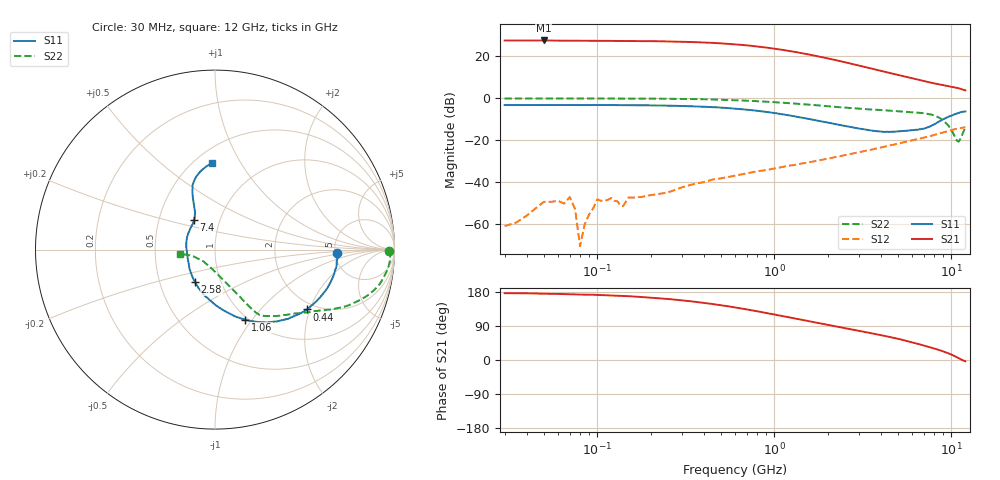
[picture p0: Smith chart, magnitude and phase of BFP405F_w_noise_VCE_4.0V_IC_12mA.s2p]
! Infineon Technologies  Discrete & RF Semiconductors
! BFP405F
! VCE =  4.0 V,  IC =  12 mA
! Common Emitter S-Parameters:  Nov 2015
# GHz  S  MA  R  50
!  f  S11  S21  S12  S22
! GHz  MAG  ANG  MAG  ANG  MAG  ANG  MAG  ANG
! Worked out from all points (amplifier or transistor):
!   239 points, 30 MHz to 12 GHz, reference 50 ohm
!   highest |S21| = 27.4 dB at 50 MHz (marker M1)
!   |S21| within 3 dB of that: start of sweep to 827 MHz
!   unconditionally stable (mu >= 1): 78.19 MHz to 86.79 MHz; 2.222 GHz to end of sweep
!   at 300 MHz: K = 0.22, MSG = 34.7 dB, |S12| = -42.5 dB
!   at 1.88 GHz: K = 0.92, MSG = 24.3 dB, |S12| = -29.3 dB
!   at 12 GHz: K = 1.38, MAG = 5.1 dB, |S12| = -13.9 dB
!   lowest NFmin = 1.80 dB at 450 MHz
!   S11 on the Smith chart (normalised r, x): 30 MHz: 5.23, -0.42; 440 MHz: 1.79, -1.91; 1.06 GHz: 0.97, -0.92; 2.58 GHz: 0.75, -0.28; 7.4 GHz: 0.75, +0.26; 12 GHz: 0.61, +0.76
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0.03  0.6809 -1.8  23.33 176.3  0.0009 123.5  0.9721 -0.5
0.05  0.6808 -3.7  23.43 174.9  0.0034 103.4  0.9817 -1.1
0.07  0.6807 -5.5  23.16 173.3  0.0044 43.8  0.9773 -1.8
0.075  0.681 -5.8  23.09 173.0  0.0023 43.9  0.9773 -1.8
0.08  0.6813 -6.0  23.01 172.7  0.0003 45.1  0.9773 -1.8
0.085  0.6822 -6.4  23.04 172.6  0.001 32.6  0.9769 -2.1
0.1  0.6831 -7.6  22.94 171.8  0.0039 97.7  0.9773 -3.2
0.145  0.6775 -11.4  22.86 168.9  0.0034 92.1  0.9754 -4.3
0.24  0.662 -18.7  22.29 161.8  0.0055 77.2  0.9636 -7.4
0.32  0.6426 -24.6  21.7 156.1  0.0081 79.0  0.9499 -9.7
0.44  0.611 -33.1  20.61 148.2  0.0113 76.6  0.9264 -12.9
0.6  0.5607 -43.4  18.94 138.7  0.0143 71.5  0.8891 -16.6
0.8  0.4985 -54.5  16.85 128.5  0.0181 70.2  0.8418 -20.1
1.06  0.4246 -66.7  14.43 117.9  0.0221 69.9  0.7858 -23.9
1.3  0.3673 -76.9  12.57 109.6  0.0254 68.9  0.7406 -26.5
1.64  0.3074 -89.8  10.46 100.7  0.0307 68.6  0.6873 -29.5
2.12  0.2492 -107.0  8.354 90.5  0.0377 67.4  0.6278 -33.8
2.58  0.2109 -121.9  6.907 82.9  0.0453 67.0  0.5864 -37.2
4.5  0.157 -174.8  3.939 60.7  0.0747 61.4  0.5036 -47.4
7.4  0.2035 125.0  2.401 35.0  0.1218 50.9  0.4188 -57.0
11  0.4446 100.4  1.711 4.7  0.1906 30.5  0.092 -134.6
12  0.4801 91.8  1.52 -3.5  0.2017 24.9  0.1974 -173.0
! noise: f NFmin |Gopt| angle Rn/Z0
0.45  1.8  0.16  4  0.33
0.9  1.81  0.15  8  0.33
1.5  1.86  0.13  12  0.23
1.9  1.91  0.12  19  0.29
2.4  2.04  0.1  26  0.38
3  2.11  0.08  35  0.4
3.5  2.17  0.06  40  0.45
4.5  2.36  0.03  -10  0.19
5.5  2.6  0.12  -85  0.06
